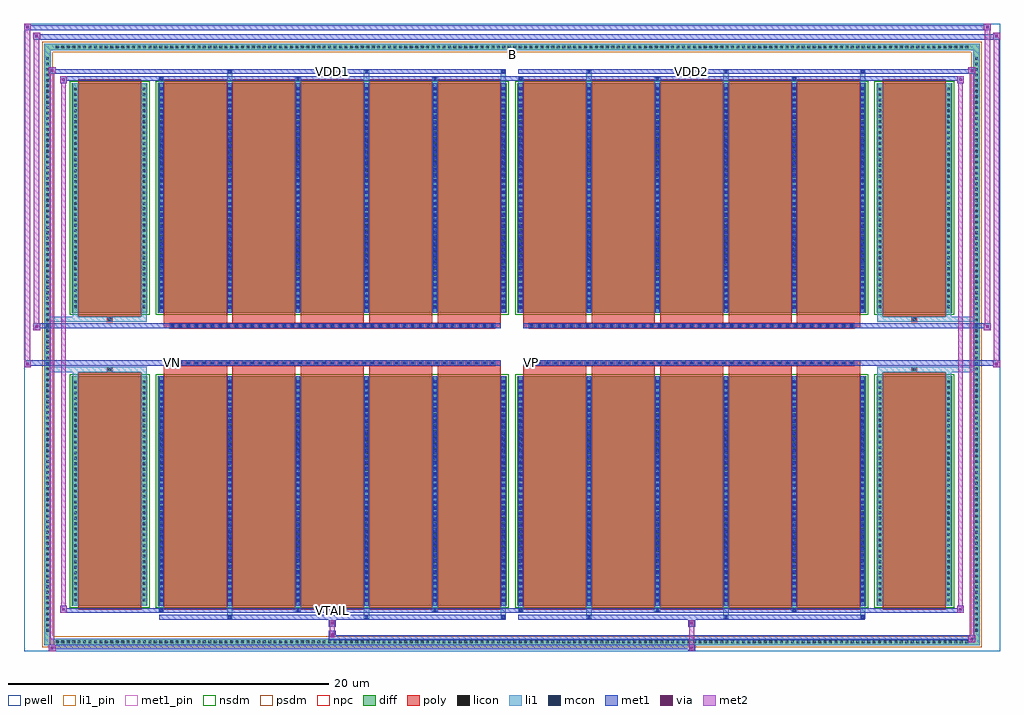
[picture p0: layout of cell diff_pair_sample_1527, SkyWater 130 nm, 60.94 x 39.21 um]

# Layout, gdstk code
import gdstk
lib = gdstk.Library(unit=1e-6, precision=5e-09)
def R(c, l, rs):  # rectangles x0, y0, x1, y1
    for r in rs: c.add(gdstk.rectangle(r[:2], r[2:], *l))
def A(c, l, x, y, w, h, nx, ny, dx, dy):  # array of equal rectangles
    R(c, l, [(x+i*dx, y+j*dy, x+i*dx+w, y+j*dy+h) for i in range(nx) for j in range(ny)])
def P(c, l, *ps):  # polygons
    for p in ps: c.add(gdstk.Polygon(p, *l))
pwell = (64, 44)
diff = (65, 20)
poly = (66, 20)
licon = (66, 44)
li1_pin = (67, 16)
li1 = (67, 20)
mcon = (67, 44)
met1_pin = (68, 16)
met1 = (68, 20)
via = (68, 44)
met2 = (69, 20)
nsdm = (93, 44)
psdm = (94, 20)
npc = (95, 20)

diff_pair_sample_1527 = lib.new_cell('diff_pair_sample_1527')
R(diff_pair_sample_1527, pwell, [(-30.47,-19.17,30.47,20.04), (-27.79,-17.36,-0.01,-0.8), (0.01,-17.36,27.79,-0.8), (-27.79,0.8,-0.01,17.36), (0.01,0.8,27.79,17.36)])
A(diff_pair_sample_1527, diff, -28.595, -18.77, 0.41, 0.41, 168, 2, 0.34, 37.13)
A(diff_pair_sample_1527, diff, -29.2, -18.055, 0.41, 0.41, 1, 106, 0, 0.34)
A(diff_pair_sample_1527, diff, 28.79, -18.055, 0.41, 0.41, 1, 106, 0, 0.34)
R(diff_pair_sample_1527, diff, [(-28.595,-18.77,28.595,-18.36), (-29.2,-18.055,-28.79,18.055), (28.79,-18.055,29.2,18.055), (-27.48,-16.315,-22.76,-1.985), (-22.12,-16.315,-0.32,-1.985), (0.32,-16.315,22.12,-1.985), (22.76,-16.315,27.48,-1.985), (-27.48,1.985,-22.76,16.315), (-22.12,1.985,-0.32,16.315), (0.32,1.985,22.12,16.315), (22.76,1.985,27.48,16.315), (-28.595,18.36,28.595,18.77)])
P(diff_pair_sample_1527, diff, [(29.2,18.77),(-29.2,18.77),(-29.2,-18.36),(-28.79,-18.36),(-28.79,18.36),(28.79,18.36),(28.79,-18.36),(-28.79,-18.36),(-29.2,-18.36),(-29.2,-18.77),(29.2,-18.77)])
A(diff_pair_sample_1527, poly, -21.73, -16.565, 3.94, 14.83, 5, 2, 4.27, 18.3)
A(diff_pair_sample_1527, poly, 0.71, -16.565, 3.94, 14.83, 5, 2, 4.27, 18.3)
A(diff_pair_sample_1527, poly, -21.73, -1.735, 3.94, 0.405, 5, 2, 4.27, 3.065)
A(diff_pair_sample_1527, poly, 0.71, -1.735, 3.94, 0.405, 5, 2, 4.27, 3.065)
A(diff_pair_sample_1527, poly, -21.385, -1.33, 0.33, 0.33, 41, 2, 0.5, 2.33)
A(diff_pair_sample_1527, poly, 1.055, -1.33, 0.33, 0.33, 41, 2, 0.5, 2.33)
R(diff_pair_sample_1527, poly, [(-27.09,-16.565,-23.15,-1.735), (23.15,-16.565,27.09,-1.735), (-25.285,-1.735,-24.955,-1.405), (-25.285,-1.735,-24.955,-1.405), (24.955,-1.735,25.285,-1.405), (24.955,-1.735,25.285,-1.405), (-21.73,-1.33,-0.71,-1), (0.71,-1.33,21.73,-1), (-21.73,1,-0.71,1.33), (0.71,1,21.73,1.33), (-25.285,1.405,-24.955,1.735), (-25.285,1.405,-24.955,1.735), (24.955,1.405,25.285,1.735), (24.955,1.405,25.285,1.735), (-27.09,1.735,-23.15,16.565), (23.15,1.735,27.09,16.565)])
A(diff_pair_sample_1527, licon, -28.475, -18.65, 0.17, 0.17, 168, 2, 0.34, 37.13)
A(diff_pair_sample_1527, licon, -29.08, -17.935, 0.17, 0.17, 1, 106, 0, 0.34)
A(diff_pair_sample_1527, licon, 28.91, -17.935, 0.17, 0.17, 1, 106, 0, 0.34)
A(diff_pair_sample_1527, licon, -27.34, -16.035, 0.17, 0.17, 1, 41, 0, 0.34)
A(diff_pair_sample_1527, licon, -23.07, -16.035, 0.17, 0.17, 1, 41, 0, 0.34)
A(diff_pair_sample_1527, licon, -21.98, -16.035, 0.17, 0.17, 6, 41, 4.27, 0.34)
A(diff_pair_sample_1527, licon, 0.46, -16.035, 0.17, 0.17, 6, 41, 4.27, 0.34)
A(diff_pair_sample_1527, licon, 22.9, -16.035, 0.17, 0.17, 1, 41, 0, 0.34)
A(diff_pair_sample_1527, licon, 27.17, -16.035, 0.17, 0.17, 1, 41, 0, 0.34)
A(diff_pair_sample_1527, licon, -21.305, -1.25, 0.17, 0.17, 41, 2, 0.5, 2.33)
A(diff_pair_sample_1527, licon, 1.135, -1.25, 0.17, 0.17, 41, 2, 0.5, 2.33)
A(diff_pair_sample_1527, licon, -27.34, 2.265, 0.17, 0.17, 1, 41, 0, 0.34)
A(diff_pair_sample_1527, licon, -23.07, 2.265, 0.17, 0.17, 1, 41, 0, 0.34)
A(diff_pair_sample_1527, licon, -21.98, 2.265, 0.17, 0.17, 6, 41, 4.27, 0.34)
A(diff_pair_sample_1527, licon, 0.46, 2.265, 0.17, 0.17, 6, 41, 4.27, 0.34)
A(diff_pair_sample_1527, licon, 22.9, 2.265, 0.17, 0.17, 1, 41, 0, 0.34)
A(diff_pair_sample_1527, licon, 27.17, 2.265, 0.17, 0.17, 1, 41, 0, 0.34)
R(diff_pair_sample_1527, licon, [(-25.205,-1.655,-25.035,-1.485), (25.035,-1.655,25.205,-1.485), (-25.205,1.485,-25.035,1.655), (25.035,1.485,25.205,1.655)])
R(diff_pair_sample_1527, li1_pin, [(-0.25,17.86,0.25,18.36)])
A(diff_pair_sample_1527, li1, -28.555, -18.73, 0.33, 0.33, 168, 2, 0.34, 37.13)
A(diff_pair_sample_1527, li1, -29.16, -18.015, 0.33, 0.33, 1, 106, 0, 0.34)
A(diff_pair_sample_1527, li1, 28.83, -18.015, 0.33, 0.33, 1, 106, 0, 0.34)
A(diff_pair_sample_1527, li1, -17.79, -17.12, 0.33, 0.805, 3, 2, 8.54, 33.435)
A(diff_pair_sample_1527, li1, -17.71, -17.12, 0.17, 0.17, 3, 2, 8.54, 34.07)
A(diff_pair_sample_1527, li1, 4.65, -17.12, 0.33, 0.805, 3, 2, 8.54, 33.435)
A(diff_pair_sample_1527, li1, 4.73, -17.12, 0.17, 0.17, 3, 2, 8.54, 34.07)
A(diff_pair_sample_1527, li1, -22.06, -16.69, 0.33, 0.375, 3, 2, 8.54, 33.005)
A(diff_pair_sample_1527, li1, -21.98, -16.69, 0.17, 0.17, 3, 2, 8.54, 33.21)
A(diff_pair_sample_1527, li1, 0.38, -16.69, 0.33, 0.375, 3, 2, 8.54, 33.005)
A(diff_pair_sample_1527, li1, 0.46, -16.69, 0.17, 0.17, 3, 2, 8.54, 33.21)
A(diff_pair_sample_1527, li1, -22.06, -16.315, 0.33, 14.33, 6, 2, 4.27, 18.3)
A(diff_pair_sample_1527, li1, 0.38, -16.315, 0.33, 14.33, 6, 2, 4.27, 18.3)
A(diff_pair_sample_1527, li1, -27.42, -16.115, 0.33, 0.33, 1, 41, 0, 0.34)
A(diff_pair_sample_1527, li1, -23.15, -16.115, 0.33, 0.33, 1, 41, 0, 0.34)
A(diff_pair_sample_1527, li1, -22.06, -16.115, 0.33, 0.33, 6, 41, 4.27, 0.34)
A(diff_pair_sample_1527, li1, 0.38, -16.115, 0.33, 0.33, 6, 41, 4.27, 0.34)
A(diff_pair_sample_1527, li1, 22.82, -16.115, 0.33, 0.33, 1, 41, 0, 0.34)
A(diff_pair_sample_1527, li1, 27.09, -16.115, 0.33, 0.33, 1, 41, 0, 0.34)
A(diff_pair_sample_1527, li1, -21.98, -16.075, 0.17, 0.17, 6, 39, 4.27, 0.36)
A(diff_pair_sample_1527, li1, -21.98, -16.075, 0.17, 13.85, 6, 2, 4.27, 18.3)
A(diff_pair_sample_1527, li1, 0.46, -16.075, 0.17, 0.17, 6, 39, 4.27, 0.36)
A(diff_pair_sample_1527, li1, 0.46, -16.075, 0.17, 13.85, 6, 2, 4.27, 18.3)
A(diff_pair_sample_1527, li1, -21.385, -1.33, 0.33, 0.33, 41, 2, 0.5, 2.33)
A(diff_pair_sample_1527, li1, 1.055, -1.33, 0.33, 0.33, 41, 2, 0.5, 2.33)
A(diff_pair_sample_1527, li1, -27.42, 2.185, 0.33, 0.33, 1, 41, 0, 0.34)
A(diff_pair_sample_1527, li1, -23.15, 2.185, 0.33, 0.33, 1, 41, 0, 0.34)
A(diff_pair_sample_1527, li1, -22.06, 2.185, 0.33, 0.33, 6, 41, 4.27, 0.34)
A(diff_pair_sample_1527, li1, 0.38, 2.185, 0.33, 0.33, 6, 41, 4.27, 0.34)
A(diff_pair_sample_1527, li1, 22.82, 2.185, 0.33, 0.33, 1, 41, 0, 0.34)
A(diff_pair_sample_1527, li1, 27.09, 2.185, 0.33, 0.33, 1, 41, 0, 0.34)
A(diff_pair_sample_1527, li1, -21.98, 2.225, 0.17, 0.17, 6, 39, 4.27, 0.36)
A(diff_pair_sample_1527, li1, 0.46, 2.225, 0.17, 0.17, 6, 39, 4.27, 0.36)
R(diff_pair_sample_1527, li1, [(-29.2,-18.77,-28.79,-18.36), (-29.2,-18.77,-28.79,-18.36), (-28.79,-18.77,28.79,-18.36), (28.79,-18.77,29.2,-18.36), (28.79,-18.77,29.2,-18.36), (-29.2,-18.36,-28.79,18.36), (28.79,-18.36,29.2,18.36), (-27.42,-16.315,-27.09,-1.985), (-23.15,-16.315,-22.82,-1.985), (22.82,-16.315,23.15,-1.985), (27.09,-16.315,27.42,-1.985), (-27.42,-1.985,-27.09,-1.405), (-23.15,-1.985,-22.82,-1.405), (22.82,-1.985,23.15,-1.405), (27.09,-1.985,27.42,-1.405), (-29.2,-1.735,-25.285,-1.405), (-27.42,-1.735,-25.285,-1.405), (-25.285,-1.735,-24.955,-1.405), (-24.955,-1.735,-22.82,-1.405), (22.82,-1.735,24.955,-1.405), (24.955,-1.735,25.285,-1.405), (24.955,-1.735,29.2,-1.405), (25.285,-1.735,27.42,-1.405), (-29.2,1.405,-25.285,1.735), (-27.42,1.405,-25.285,1.735), (-27.42,1.405,-27.09,1.985), (-25.285,1.405,-24.955,1.735), (-24.955,1.405,-22.82,1.735), (-23.15,1.405,-22.82,1.985), (22.82,1.405,24.955,1.735), (22.82,1.405,23.15,1.985), (24.955,1.405,25.285,1.735), (24.955,1.405,29.2,1.735), (25.285,1.405,27.42,1.735), (27.09,1.405,27.42,1.985), (-27.42,1.985,-27.09,16.315), (-23.15,1.985,-22.82,16.315), (22.82,1.985,23.15,16.315), (27.09,1.985,27.42,16.315), (-29.2,18.36,-28.79,18.77), (-29.2,18.36,-28.79,18.77), (-28.79,18.36,28.79,18.77), (28.79,18.36,29.2,18.77), (28.79,18.36,29.2,18.77)])
A(diff_pair_sample_1527, mcon, -17.71, -17.12, 0.17, 0.17, 3, 2, 8.54, 34.07)
A(diff_pair_sample_1527, mcon, 4.73, -17.12, 0.17, 0.17, 3, 2, 8.54, 34.07)
A(diff_pair_sample_1527, mcon, -21.98, -16.69, 0.17, 0.17, 3, 2, 8.54, 33.21)
A(diff_pair_sample_1527, mcon, 0.46, -16.69, 0.17, 0.17, 3, 2, 8.54, 33.21)
A(diff_pair_sample_1527, mcon, -21.98, -16.075, 0.17, 0.17, 6, 39, 4.27, 0.36)
A(diff_pair_sample_1527, mcon, 0.46, -16.075, 0.17, 0.17, 6, 39, 4.27, 0.36)
A(diff_pair_sample_1527, mcon, -21.305, -1.25, 0.17, 0.17, 41, 2, 0.5, 2.33)
A(diff_pair_sample_1527, mcon, 1.135, -1.25, 0.17, 0.17, 41, 2, 0.5, 2.33)
A(diff_pair_sample_1527, mcon, -21.98, 2.225, 0.17, 0.17, 6, 39, 4.27, 0.36)
A(diff_pair_sample_1527, mcon, 0.46, 2.225, 0.17, 0.17, 6, 39, 4.27, 0.36)
R(diff_pair_sample_1527, met1_pin, [(-11.355,-16.73,-11.085,-16.46), (-21.355,-1.29,-21.085,-1.02), (1.085,-1.29,1.355,-1.02), (-11.355,16.91,-11.085,17.18), (11.085,16.91,11.355,17.18)])
A(diff_pair_sample_1527, met1, -17.77, -17.18, 0.29, 0.29, 3, 2, 8.54, 34.07)
A(diff_pair_sample_1527, met1, 4.67, -17.18, 0.29, 0.29, 3, 2, 8.54, 34.07)
A(diff_pair_sample_1527, met1, -22.04, -16.75, 0.29, 0.29, 3, 2, 8.54, 33.21)
A(diff_pair_sample_1527, met1, 0.4, -16.75, 0.29, 0.29, 3, 2, 8.54, 33.21)
A(diff_pair_sample_1527, met1, -22.04, -16.315, 0.29, 14.33, 6, 2, 4.27, 18.3)
A(diff_pair_sample_1527, met1, 0.4, -16.315, 0.29, 14.33, 6, 2, 4.27, 18.3)
A(diff_pair_sample_1527, met1, -22.04, -16.135, 0.29, 0.29, 6, 39, 4.27, 0.36)
A(diff_pair_sample_1527, met1, 0.4, -16.135, 0.29, 0.29, 6, 39, 4.27, 0.36)
A(diff_pair_sample_1527, met1, -21.365, -1.31, 0.29, 0.29, 41, 2, 0.5, 2.33)
A(diff_pair_sample_1527, met1, 1.075, -1.31, 0.29, 0.29, 41, 2, 0.5, 2.33)
A(diff_pair_sample_1527, met1, -22.04, 2.165, 0.29, 0.29, 6, 39, 4.27, 0.36)
A(diff_pair_sample_1527, met1, 0.4, 2.165, 0.29, 0.29, 6, 39, 4.27, 0.36)
R(diff_pair_sample_1527, met1, [(-28.93,-19.17,-28.5,-18.74), (11.005,-19.17,11.435,-18.74), (-28.93,-19.03,11.435,-18.74), (28.5,-18.6,28.93,-18.17), (-11.435,-18.46,28.93,-18.17), (-11.435,-18.32,-11.005,-17.89), (-11.435,-17.61,-11.005,-17.18), (11.005,-17.61,11.435,-17.18), (-22.04,-17.18,-0.4,-16.89), (0.4,-17.18,22.04,-16.89), (-28.22,-16.75,-27.79,-16.32), (-28.22,-16.75,-22.04,-16.46), (-22.04,-16.75,-0.4,-16.46), (-0.4,-16.75,0.4,-16.46), (0.4,-16.75,22.04,-16.46), (22.04,-16.75,28.22,-16.46), (27.79,-16.75,28.22,-16.32), (-30.47,-1.43,-30.04,-1), (30.04,-1.43,30.47,-1), (-30.47,-1.33,-0.71,-1), (-21.73,-1.33,-0.71,-1), (0.71,-1.33,21.73,-1), (0.71,-1.33,30.47,-1), (-29.9,0.9,-29.47,1.33), (29.47,0.9,29.9,1.33), (-29.9,1,-21.73,1.33), (-21.73,1,-0.71,1.33), (0.71,1,21.73,1.33), (21.73,1,29.9,1.33), (-28.22,16.32,-27.79,16.75), (27.79,16.32,28.22,16.75), (-28.22,16.46,-22.04,16.75), (-22.04,16.46,-0.4,16.75), (-0.4,16.46,0.4,16.75), (0.4,16.46,22.04,16.75), (22.04,16.46,28.22,16.75), (-28.93,16.89,-28.5,17.32), (-28.93,16.89,-22.04,17.18), (-22.04,16.89,-0.4,17.18), (0.4,16.89,22.04,17.18), (22.04,16.89,28.93,17.18), (28.5,16.89,28.93,17.32), (-29.9,19.04,-29.47,19.47), (-29.9,19.04,-27.79,19.37), (-27.79,19.04,27.79,19.37), (27.79,19.04,30.47,19.37), (30.04,19.04,30.47,19.47), (-30.47,19.61,-30.04,20.04), (-30.47,19.61,-27.79,19.94), (-27.79,19.61,27.79,19.94), (27.79,19.61,29.9,19.94), (29.47,19.61,29.9,20.04)])
R(diff_pair_sample_1527, via, [(-28.79,-19.03,-28.64,-18.88), (11.145,-19.03,11.295,-18.88), (28.64,-18.46,28.79,-18.31), (-11.295,-18.18,-11.145,-18.03), (-11.295,-17.47,-11.145,-17.32), (11.145,-17.47,11.295,-17.32), (-28.08,-16.61,-27.93,-16.46), (27.93,-16.61,28.08,-16.46), (-30.33,-1.29,-30.18,-1.14), (30.18,-1.29,30.33,-1.14), (-29.76,1.04,-29.61,1.19), (29.61,1.04,29.76,1.19), (-28.08,16.46,-27.93,16.61), (27.93,16.46,28.08,16.61), (-28.79,17.03,-28.64,17.18), (28.64,17.03,28.79,17.18), (-29.76,19.18,-29.61,19.33), (30.18,19.18,30.33,19.33), (-30.33,19.75,-30.18,19.9), (29.61,19.75,29.76,19.9)])
R(diff_pair_sample_1527, met2, [(-28.93,-19.17,-28.5,-18.74), (-28.86,-19.17,-28.57,17.32), (-28.57,-19.17,-28.5,-18.74), (-28.88,-19.12,-28.55,-18.79), (11.055,-19.12,11.385,-18.79), (11.055,-18.79,11.385,-17.56), (28.5,-18.6,28.93,-18.17), (28.57,-18.6,28.86,17.32), (28.86,-18.6,28.93,-18.17), (28.55,-18.55,28.88,-18.22), (-11.385,-18.27,-11.055,-17.94), (-11.385,-17.94,-11.055,-17.56), (-11.385,-17.56,-11.055,-17.23), (11.055,-17.56,11.385,-17.23), (-28.22,-16.75,-27.79,-16.32), (-28.15,-16.75,-27.86,16.75), (-27.86,-16.75,-27.79,-16.32), (27.79,-16.75,28.22,-16.32), (27.86,-16.75,28.15,16.75), (28.15,-16.75,28.22,-16.32), (-28.17,-16.7,-27.84,-16.37), (27.84,-16.7,28.17,-16.37), (-30.47,-1.43,-30.04,-1), (-30.42,-1.43,-30.09,20.04), (-30.09,-1.43,-30.04,-1), (30.04,-1.43,30.47,-1), (30.09,-1.43,30.42,19.47), (30.42,-1.43,30.47,-1), (-30.42,-1.38,-30.09,-1.05), (30.09,-1.38,30.42,-1.05), (-29.9,0.9,-29.47,1.33), (-29.85,0.9,-29.52,19.47), (-29.52,0.9,-29.47,1.33), (29.47,0.9,29.9,1.33), (29.52,0.9,29.85,20.04), (29.85,0.9,29.9,1.33), (-29.85,0.95,-29.52,1.28), (29.52,0.95,29.85,1.28), (-28.22,16.32,-27.79,16.75), (-27.86,16.32,-27.79,16.75), (27.79,16.32,28.22,16.75), (28.15,16.32,28.22,16.75), (-28.17,16.37,-27.84,16.7), (27.84,16.37,28.17,16.7), (-28.93,16.89,-28.5,17.32), (-28.57,16.89,-28.5,17.32), (28.5,16.89,28.93,17.32), (28.86,16.89,28.93,17.32), (-28.88,16.94,-28.55,17.27), (28.55,16.94,28.88,17.27), (-29.9,19.04,-29.47,19.47), (-29.52,19.04,-29.47,19.47), (30.04,19.04,30.47,19.47), (30.42,19.04,30.47,19.47), (-29.85,19.09,-29.52,19.42), (30.09,19.09,30.42,19.42), (-30.47,19.61,-30.04,20.04), (-30.09,19.61,-30.04,20.04), (29.47,19.61,29.9,20.04), (29.85,19.61,29.9,20.04), (-30.42,19.66,-30.09,19.99), (29.52,19.66,29.85,19.99)])
R(diff_pair_sample_1527, nsdm, [(-27.61,-16.445,-22.63,-1.855), (-22.25,-16.445,-0.19,-1.855), (0.19,-16.445,22.25,-1.855), (22.63,-16.445,27.61,-1.855), (-27.61,1.855,-22.63,16.445), (-22.25,1.855,-0.19,16.445), (0.19,1.855,22.25,16.445), (22.63,1.855,27.61,16.445)])
P(diff_pair_sample_1527, psdm, [(29.33,18.9),(-29.33,18.9),(-29.33,-18.23),(-28.66,-18.23),(-28.66,18.23),(28.66,18.23),(28.66,-18.23),(-28.66,-18.23),(-29.33,-18.23),(-29.33,-18.9),(29.33,-18.9)])
A(diff_pair_sample_1527, npc, -21.405, -1.35, 0.37, 0.37, 41, 2, 0.5, 2.33)
A(diff_pair_sample_1527, npc, 1.035, -1.35, 0.37, 0.37, 41, 2, 0.5, 2.33)
R(diff_pair_sample_1527, npc, [(-25.305,-1.755,-24.935,-1.385), (24.935,-1.755,25.305,-1.385), (-21.405,-1.35,-20.535,-0.98), (-21.405,-1.35,-20.535,-0.98), (-20.905,-1.35,-20.035,-0.98), (-20.905,-1.35,-20.035,-0.98), (-20.405,-1.35,-19.535,-0.98), (-20.405,-1.35,-19.535,-0.98), (-19.905,-1.35,-19.035,-0.98), (-19.905,-1.35,-19.035,-0.98), (-19.405,-1.35,-18.535,-0.98), (-19.405,-1.35,-18.535,-0.98), (-18.905,-1.35,-18.035,-0.98), (-18.905,-1.35,-18.035,-0.98), (-18.405,-1.35,-17.535,-0.98), (-18.405,-1.35,-17.535,-0.98), (-17.905,-1.35,-17.035,-0.98), (-17.905,-1.35,-17.035,-0.98), (-17.405,-1.35,-16.535,-0.98), (-17.405,-1.35,-16.535,-0.98), (-16.905,-1.35,-16.035,-0.98), (-16.905,-1.35,-16.035,-0.98), (-16.405,-1.35,-15.535,-0.98), (-16.405,-1.35,-15.535,-0.98), (-15.905,-1.35,-15.035,-0.98), (-15.905,-1.35,-15.035,-0.98), (-15.405,-1.35,-14.535,-0.98), (-15.405,-1.35,-14.535,-0.98), (-14.905,-1.35,-14.035,-0.98), (-14.905,-1.35,-14.035,-0.98), (-14.405,-1.35,-13.535,-0.98), (-14.405,-1.35,-13.535,-0.98), (-13.905,-1.35,-13.035,-0.98), (-13.905,-1.35,-13.035,-0.98), (-13.405,-1.35,-12.535,-0.98), (-13.405,-1.35,-12.535,-0.98), (-12.905,-1.35,-12.035,-0.98), (-12.905,-1.35,-12.035,-0.98), (-12.405,-1.35,-11.535,-0.98), (-12.405,-1.35,-11.535,-0.98), (-11.905,-1.35,-11.035,-0.98), (-11.905,-1.35,-11.035,-0.98), (-11.405,-1.35,-10.535,-0.98), (-11.405,-1.35,-10.535,-0.98), (-10.905,-1.35,-10.035,-0.98), (-10.905,-1.35,-10.035,-0.98), (-10.405,-1.35,-9.535,-0.98), (-10.405,-1.35,-9.535,-0.98), (-9.905,-1.35,-9.035,-0.98), (-9.905,-1.35,-9.035,-0.98), (-9.405,-1.35,-8.535,-0.98), (-9.405,-1.35,-8.535,-0.98), (-8.905,-1.35,-8.035,-0.98), (-8.905,-1.35,-8.035,-0.98), (-8.405,-1.35,-7.535,-0.98), (-8.405,-1.35,-7.535,-0.98), (-7.905,-1.35,-7.035,-0.98), (-7.905,-1.35,-7.035,-0.98), (-7.405,-1.35,-6.535,-0.98), (-7.405,-1.35,-6.535,-0.98), (-6.905,-1.35,-6.035,-0.98), (-6.905,-1.35,-6.035,-0.98), (-6.405,-1.35,-5.535,-0.98), (-6.405,-1.35,-5.535,-0.98), (-5.905,-1.35,-5.035,-0.98), (-5.905,-1.35,-5.035,-0.98), (-5.405,-1.35,-4.535,-0.98), (-5.405,-1.35,-4.535,-0.98), (-4.905,-1.35,-4.035,-0.98), (-4.905,-1.35,-4.035,-0.98), (-4.405,-1.35,-3.535,-0.98), (-4.405,-1.35,-3.535,-0.98), (-3.905,-1.35,-3.035,-0.98), (-3.905,-1.35,-3.035,-0.98), (-3.405,-1.35,-2.535,-0.98), (-3.405,-1.35,-2.535,-0.98), (-2.905,-1.35,-2.035,-0.98), (-2.905,-1.35,-2.035,-0.98), (-2.405,-1.35,-1.535,-0.98), (-2.405,-1.35,-1.535,-0.98), (-1.905,-1.35,-1.035,-0.98), (-1.905,-1.35,-1.035,-0.98), (1.035,-1.35,1.905,-0.98), (1.035,-1.35,1.905,-0.98), (1.535,-1.35,2.405,-0.98), (1.535,-1.35,2.405,-0.98), (2.035,-1.35,2.905,-0.98), (2.035,-1.35,2.905,-0.98), (2.535,-1.35,3.405,-0.98), (2.535,-1.35,3.405,-0.98), (3.035,-1.35,3.905,-0.98), (3.035,-1.35,3.905,-0.98), (3.535,-1.35,4.405,-0.98), (3.535,-1.35,4.405,-0.98), (4.035,-1.35,4.905,-0.98), (4.035,-1.35,4.905,-0.98), (4.535,-1.35,5.405,-0.98), (4.535,-1.35,5.405,-0.98), (5.035,-1.35,5.905,-0.98), (5.035,-1.35,5.905,-0.98), (5.535,-1.35,6.405,-0.98), (5.535,-1.35,6.405,-0.98), (6.035,-1.35,6.905,-0.98), (6.035,-1.35,6.905,-0.98), (6.535,-1.35,7.405,-0.98), (6.535,-1.35,7.405,-0.98), (7.035,-1.35,7.905,-0.98), (7.035,-1.35,7.905,-0.98), (7.535,-1.35,8.405,-0.98), (7.535,-1.35,8.405,-0.98), (8.035,-1.35,8.905,-0.98), (8.035,-1.35,8.905,-0.98), (8.535,-1.35,9.405,-0.98), (8.535,-1.35,9.405,-0.98), (9.035,-1.35,9.905,-0.98), (9.035,-1.35,9.905,-0.98), (9.535,-1.35,10.405,-0.98), (9.535,-1.35,10.405,-0.98), (10.035,-1.35,10.905,-0.98), (10.035,-1.35,10.905,-0.98), (10.535,-1.35,11.405,-0.98), (10.535,-1.35,11.405,-0.98), (11.035,-1.35,11.905,-0.98), (11.035,-1.35,11.905,-0.98), (11.535,-1.35,12.405,-0.98), (11.535,-1.35,12.405,-0.98), (12.035,-1.35,12.905,-0.98), (12.035,-1.35,12.905,-0.98), (12.535,-1.35,13.405,-0.98), (12.535,-1.35,13.405,-0.98), (13.035,-1.35,13.905,-0.98), (13.035,-1.35,13.905,-0.98), (13.535,-1.35,14.405,-0.98), (13.535,-1.35,14.405,-0.98), (14.035,-1.35,14.905,-0.98), (14.035,-1.35,14.905,-0.98), (14.535,-1.35,15.405,-0.98), (14.535,-1.35,15.405,-0.98), (15.035,-1.35,15.905,-0.98), (15.035,-1.35,15.905,-0.98), (15.535,-1.35,16.405,-0.98), (15.535,-1.35,16.405,-0.98), (16.035,-1.35,16.905,-0.98), (16.035,-1.35,16.905,-0.98), (16.535,-1.35,17.405,-0.98), (16.535,-1.35,17.405,-0.98), (17.035,-1.35,17.905,-0.98), (17.035,-1.35,17.905,-0.98), (17.535,-1.35,18.405,-0.98), (17.535,-1.35,18.405,-0.98), (18.035,-1.35,18.905,-0.98), (18.035,-1.35,18.905,-0.98), (18.535,-1.35,19.405,-0.98), (18.535,-1.35,19.405,-0.98), (19.035,-1.35,19.905,-0.98), (19.035,-1.35,19.905,-0.98), (19.535,-1.35,20.405,-0.98), (19.535,-1.35,20.405,-0.98), (20.035,-1.35,20.905,-0.98), (20.035,-1.35,20.905,-0.98), (20.535,-1.35,21.405,-0.98), (20.535,-1.35,21.405,-0.98), (-21.405,0.98,-20.535,1.35), (-21.405,0.98,-20.535,1.35), (-20.905,0.98,-20.035,1.35), (-20.905,0.98,-20.035,1.35), (-20.405,0.98,-19.535,1.35), (-20.405,0.98,-19.535,1.35), (-19.905,0.98,-19.035,1.35), (-19.905,0.98,-19.035,1.35), (-19.405,0.98,-18.535,1.35), (-19.405,0.98,-18.535,1.35), (-18.905,0.98,-18.035,1.35), (-18.905,0.98,-18.035,1.35), (-18.405,0.98,-17.535,1.35), (-18.405,0.98,-17.535,1.35), (-17.905,0.98,-17.035,1.35), (-17.905,0.98,-17.035,1.35), (-17.405,0.98,-16.535,1.35), (-17.405,0.98,-16.535,1.35), (-16.905,0.98,-16.035,1.35), (-16.905,0.98,-16.035,1.35), (-16.405,0.98,-15.535,1.35), (-16.405,0.98,-15.535,1.35), (-15.905,0.98,-15.035,1.35), (-15.905,0.98,-15.035,1.35), (-15.405,0.98,-14.535,1.35), (-15.405,0.98,-14.535,1.35), (-14.905,0.98,-14.035,1.35), (-14.905,0.98,-14.035,1.35), (-14.405,0.98,-13.535,1.35), (-14.405,0.98,-13.535,1.35), (-13.905,0.98,-13.035,1.35), (-13.905,0.98,-13.035,1.35), (-13.405,0.98,-12.535,1.35), (-13.405,0.98,-12.535,1.35), (-12.905,0.98,-12.035,1.35), (-12.905,0.98,-12.035,1.35), (-12.405,0.98,-11.535,1.35), (-12.405,0.98,-11.535,1.35), (-11.905,0.98,-11.035,1.35), (-11.905,0.98,-11.035,1.35), (-11.405,0.98,-10.535,1.35), (-11.405,0.98,-10.535,1.35), (-10.905,0.98,-10.035,1.35), (-10.905,0.98,-10.035,1.35), (-10.405,0.98,-9.535,1.35), (-10.405,0.98,-9.535,1.35), (-9.905,0.98,-9.035,1.35), (-9.905,0.98,-9.035,1.35), (-9.405,0.98,-8.535,1.35), (-9.405,0.98,-8.535,1.35), (-8.905,0.98,-8.035,1.35), (-8.905,0.98,-8.035,1.35), (-8.405,0.98,-7.535,1.35), (-8.405,0.98,-7.535,1.35), (-7.905,0.98,-7.035,1.35), (-7.905,0.98,-7.035,1.35), (-7.405,0.98,-6.535,1.35), (-7.405,0.98,-6.535,1.35), (-6.905,0.98,-6.035,1.35), (-6.905,0.98,-6.035,1.35), (-6.405,0.98,-5.535,1.35), (-6.405,0.98,-5.535,1.35), (-5.905,0.98,-5.035,1.35), (-5.905,0.98,-5.035,1.35), (-5.405,0.98,-4.535,1.35), (-5.405,0.98,-4.535,1.35), (-4.905,0.98,-4.035,1.35), (-4.905,0.98,-4.035,1.35), (-4.405,0.98,-3.535,1.35), (-4.405,0.98,-3.535,1.35), (-3.905,0.98,-3.035,1.35), (-3.905,0.98,-3.035,1.35), (-3.405,0.98,-2.535,1.35), (-3.405,0.98,-2.535,1.35), (-2.905,0.98,-2.035,1.35), (-2.905,0.98,-2.035,1.35), (-2.405,0.98,-1.535,1.35), (-2.405,0.98,-1.535,1.35), (-1.905,0.98,-1.035,1.35), (-1.905,0.98,-1.035,1.35), (1.035,0.98,1.905,1.35), (1.035,0.98,1.905,1.35), (1.535,0.98,2.405,1.35), (1.535,0.98,2.405,1.35), (2.035,0.98,2.905,1.35), (2.035,0.98,2.905,1.35), (2.535,0.98,3.405,1.35), (2.535,0.98,3.405,1.35), (3.035,0.98,3.905,1.35), (3.035,0.98,3.905,1.35), (3.535,0.98,4.405,1.35), (3.535,0.98,4.405,1.35), (4.035,0.98,4.905,1.35), (4.035,0.98,4.905,1.35), (4.535,0.98,5.405,1.35), (4.535,0.98,5.405,1.35), (5.035,0.98,5.905,1.35), (5.035,0.98,5.905,1.35), (5.535,0.98,6.405,1.35), (5.535,0.98,6.405,1.35), (6.035,0.98,6.905,1.35), (6.035,0.98,6.905,1.35), (6.535,0.98,7.405,1.35), (6.535,0.98,7.405,1.35), (7.035,0.98,7.905,1.35), (7.035,0.98,7.905,1.35), (7.535,0.98,8.405,1.35), (7.535,0.98,8.405,1.35), (8.035,0.98,8.905,1.35), (8.035,0.98,8.905,1.35), (8.535,0.98,9.405,1.35), (8.535,0.98,9.405,1.35), (9.035,0.98,9.905,1.35), (9.035,0.98,9.905,1.35), (9.535,0.98,10.405,1.35), (9.535,0.98,10.405,1.35), (10.035,0.98,10.905,1.35), (10.035,0.98,10.905,1.35), (10.535,0.98,11.405,1.35), (10.535,0.98,11.405,1.35), (11.035,0.98,11.905,1.35), (11.035,0.98,11.905,1.35), (11.535,0.98,12.405,1.35), (11.535,0.98,12.405,1.35), (12.035,0.98,12.905,1.35), (12.035,0.98,12.905,1.35), (12.535,0.98,13.405,1.35), (12.535,0.98,13.405,1.35), (13.035,0.98,13.905,1.35), (13.035,0.98,13.905,1.35), (13.535,0.98,14.405,1.35), (13.535,0.98,14.405,1.35), (14.035,0.98,14.905,1.35), (14.035,0.98,14.905,1.35), (14.535,0.98,15.405,1.35), (14.535,0.98,15.405,1.35), (15.035,0.98,15.905,1.35), (15.035,0.98,15.905,1.35), (15.535,0.98,16.405,1.35), (15.535,0.98,16.405,1.35), (16.035,0.98,16.905,1.35), (16.035,0.98,16.905,1.35), (16.535,0.98,17.405,1.35), (16.535,0.98,17.405,1.35), (17.035,0.98,17.905,1.35), (17.035,0.98,17.905,1.35), (17.535,0.98,18.405,1.35), (17.535,0.98,18.405,1.35), (18.035,0.98,18.905,1.35), (18.035,0.98,18.905,1.35), (18.535,0.98,19.405,1.35), (18.535,0.98,19.405,1.35), (19.035,0.98,19.905,1.35), (19.035,0.98,19.905,1.35), (19.535,0.98,20.405,1.35), (19.535,0.98,20.405,1.35), (20.035,0.98,20.905,1.35), (20.035,0.98,20.905,1.35), (20.535,0.98,21.405,1.35), (20.535,0.98,21.405,1.35), (-25.305,1.385,-24.935,1.755), (24.935,1.385,25.305,1.755)])
diff_pair_sample_1527.add(gdstk.Label('VTAIL', (-11.22,-16.595), layer=68, texttype=5))
diff_pair_sample_1527.add(gdstk.Label('VN', (-21.22,-1.155), layer=68, texttype=5))
diff_pair_sample_1527.add(gdstk.Label('VP', (1.22,-1.155), layer=68, texttype=5))
diff_pair_sample_1527.add(gdstk.Label('B', (0,18.11), layer=67, texttype=5))
diff_pair_sample_1527.add(gdstk.Label('VDD2', (11.22,17.045), layer=68, texttype=5))
diff_pair_sample_1527.add(gdstk.Label('VDD1', (-11.22,17.045), layer=68, texttype=5))

lib.write_gds('diff_pair_sample_1527.gds')
